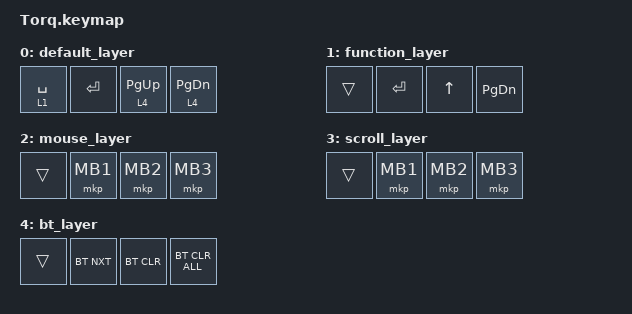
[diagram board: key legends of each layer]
#include <behaviors.dtsi>
#include <dt-bindings/zmk/keys.h>
#include <dt-bindings/zmk/pointing.h>
#include <dt-bindings/zmk/bt.h>
#include <physical_layouts.dtsi>

#define BASE 0
#define FUNCTION 1
#define MOUSE 2
#define SCROLL 3
#define BT 4

&mt {
    tapping-term-ms = <500>;
};

/ {
  chosen {
    zmk,physical-layout = &Torq_physical_layout;
  };

  Torq_physical_layout: Torq_physical_layout {
      compatible = "zmk,physical-layout";
      display-name = "Default";
      transform = <&default_transform>;
      kscan = <&kscan0>;
      keys  //                     w   h    x    y     rot    rx    ry
          = <&key_physical_attrs 100 100    0    0       0     0     0>
          , <&key_physical_attrs 100 100  100    0       0     0     0>
          , <&key_physical_attrs 100 100  200    0       0     0     0>
          , <&key_physical_attrs 100 100  300    0       0     0     0>
          ;
    };

    keymap {
        compatible = "zmk,keymap";

        default_layer {
            bindings = <
&lt 1 SPACE      &kp ENTER        &lt 4 PG_UP      &lt 4 PG_DN
            >;
        };

        function_layer {
            bindings = <
&trans           &kp ENTER        &kp UP           &kp PG_DN
            >;
        };

        mouse_layer {
            bindings = <
&trans           &mkp MB1         &mkp MB2         &mkp MB3
            >;
        };

        scroll_layer {
            bindings = <
&trans           &mkp MB1         &mkp MB2         &mkp MB3
            >;
        };

        bt_layer {
            bindings = <
&trans           &bt BT_NXT       &bt BT_CLR       &bt BT_CLR_ALL
            >;
        };
    };
};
